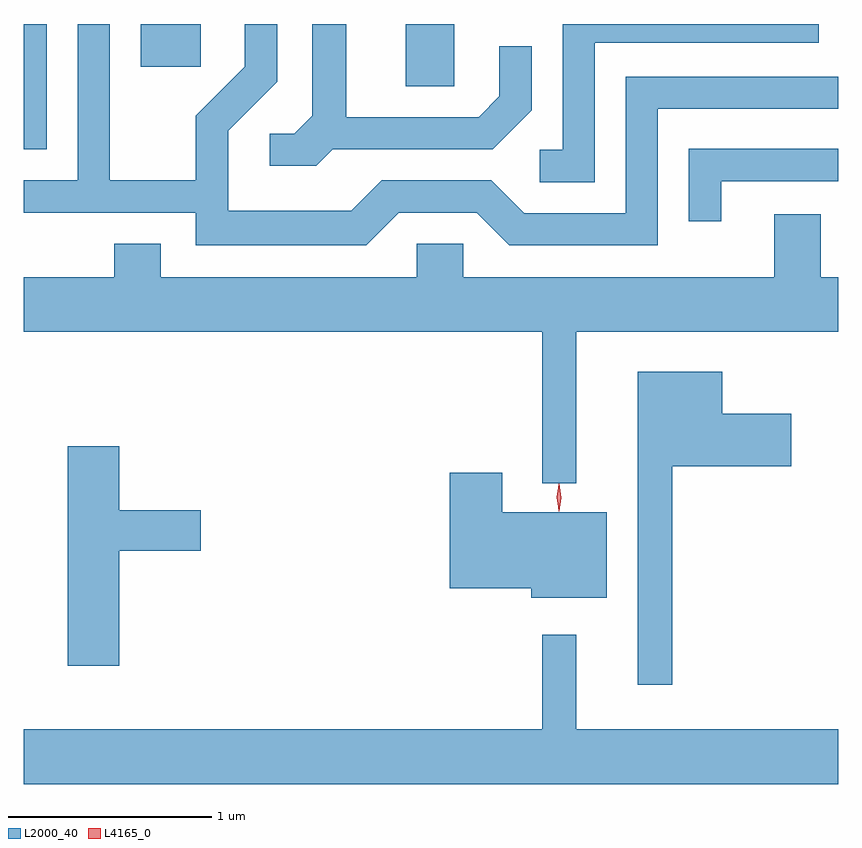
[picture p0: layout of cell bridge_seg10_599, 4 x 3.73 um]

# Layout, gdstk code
import gdstk
lib = gdstk.Library(unit=1e-6, precision=1e-09)
def R(c, l, rs):  # rectangles x0, y0, x1, y1
    for r in rs: c.add(gdstk.rectangle(r[:2], r[2:], *l))
def P(c, l, *ps):  # polygons
    for p in ps: c.add(gdstk.Polygon(p, *l))
L2000_40 = (2000, 40)
L4165_0 = (4165, 0)

bridge_seg10_599 = lib.new_cell('bridge_seg10_599')
R(bridge_seg10_599, L2000_40, [(767.435,2150.331,767.549,2150.947), (769.311,2150.641,769.549,2150.947), (768.011,2150.736,768.304,2150.947)])
P(bridge_seg10_599, L2000_40, [(770.239,2150.856),(771.338,2150.856),(771.338,2150.947),(770.081,2150.947),(770.081,2150.329),(769.968,2150.329),(769.968,2150.171),(770.239,2150.171)],
  [(769.277,2150.021),(769.659,2150.021),(769.819,2149.861),(770.549,2149.861),(770.549,2150.531),(771.435,2150.531),(771.435,2150.689),(770.391,2150.689),(770.391,2150.019),(769.892,2150.019),(769.732,2150.179),(769.194,2150.179),(769.044,2150.029),(768.439,2150.029),(768.439,2150.424),(768.679,2150.664),(768.679,2150.947),(768.521,2150.947),(768.521,2150.737),(768.281,2150.497),(768.281,2150.179),(767.859,2150.179),(767.859,2150.947),(767.701,2150.947),(767.701,2150.179),(767.435,2150.179),(767.435,2150.021),(768.281,2150.021),(768.281,2149.861),(769.117,2149.861)],
  [(768.952,2150.331),(769.737,2150.331),(769.929,2150.524),(769.929,2150.838),(769.771,2150.838),(769.771,2150.592),(769.669,2150.489),(769.019,2150.489),(769.019,2150.947),(768.851,2150.947),(768.851,2150.497),(768.764,2150.409),(768.643,2150.409),(768.643,2150.251),(768.872,2150.251)],
  [(770.859,2150.176),(771.435,2150.176),(771.435,2150.334),(770.701,2150.334),(770.701,2149.978),(770.859,2149.978)],
  [(770.149,2149.436),(771.435,2149.436),(771.435,2149.704),(771.349,2149.704),(771.349,2150.014),(771.121,2150.014),(771.121,2149.704),(769.594,2149.704),(769.594,2149.869),(769.366,2149.869),(769.366,2149.704),(768.109,2149.704),(768.109,2149.869),(767.881,2149.869),(767.881,2149.704),(767.435,2149.704),(767.435,2149.436),(769.981,2149.436),(769.981,2148.693),(770.149,2148.693)],
  [(770.619,2148.776),(771.204,2148.776),(771.204,2149.034),(770.864,2149.034),(770.864,2149.239),(770.451,2149.239),(770.451,2147.703),(770.619,2147.703)],
  [(767.904,2148.361),(768.304,2148.361),(768.304,2148.559),(767.904,2148.559),(767.904,2148.874),(767.651,2148.874),(767.651,2147.796),(767.904,2147.796)],
  [(770.299,2148.549),(769.784,2148.549),(769.784,2148.744),(769.526,2148.744),(769.526,2148.176),(769.926,2148.176),(769.926,2148.131),(770.299,2148.131)],
  [(771.435,2147.484),(770.149,2147.484),(770.149,2147.948),(769.981,2147.948),(769.981,2147.484),(767.435,2147.484),(767.435,2147.216),(771.435,2147.216)])
P(bridge_seg10_599, L4165_0, [(770.063,2148.554),(770.054,2148.622),(770.063,2148.69),(770.064,2148.69),(770.064,2148.69),(770.074,2148.622),(770.064,2148.554),(770.064,2148.554)],
  [(770.061,2148.562),(770.052,2148.624),(770.061,2148.686),(770.062,2148.687),(770.062,2148.686),(770.072,2148.624),(770.062,2148.562),(770.062,2148.562)])

lib.write_gds('bridge_seg10_599.gds')
